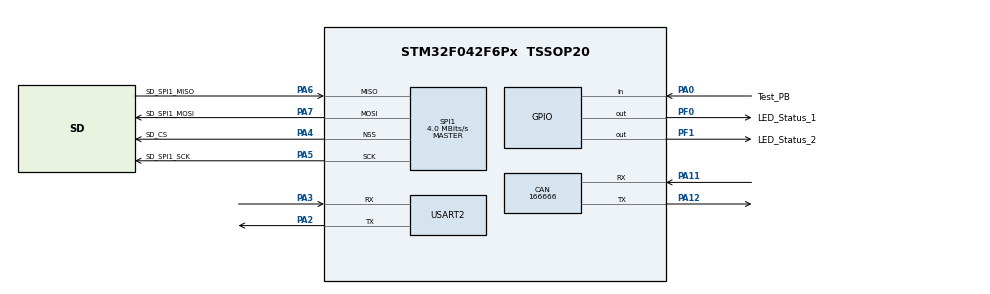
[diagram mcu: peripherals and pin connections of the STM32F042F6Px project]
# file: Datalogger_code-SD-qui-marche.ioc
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CAN.CalculateBaudRate=166666
CAN.CalculateTimeBit=6000
CAN.CalculateTimeQuantum=2000.0
Mcu.Family=STM32F0
Mcu.Name=STM32F042F6Px
Mcu.Package=TSSOP20
PA0.GPIO_Label=Test_PB
PA0.Signal=GPIO_Input
PA11.Mode=CAN_Activate
PA11.Signal=CAN_RX
PA12.Mode=CAN_Activate
PA12.Signal=CAN_TX
PA13.GPIO_Label=Debug_SWDIO
PA13.Mode=Serial_Wire
PA13.Signal=SYS_SWDIO
PA14.GPIO_Label=Debug_SWCLK
PA14.Mode=Serial_Wire
PA14.Signal=SYS_SWCLK
PA2.Mode=Asynchronous
PA2.Signal=USART2_TX
PA3.Mode=Asynchronous
PA3.Signal=USART2_RX
PA4.GPIO_Label=SD_CS
PA4.Mode=NSS_Signal_Hard_Output
PA4.Signal=SPI1_NSS
PA5.GPIO_Label=SD_SPI1_SCK
PA5.Mode=Full_Duplex_Master
PA5.Signal=SPI1_SCK
PA6.GPIO_Label=SD_SPI1_MISO
PA6.Mode=Full_Duplex_Master
PA6.Signal=SPI1_MISO
PA7.GPIO_Label=SD_SPI1_MOSI
PA7.Mode=Full_Duplex_Master
PA7.Signal=SPI1_MOSI
PF0-OSC_IN.GPIO_Label=LED_Status_1
PF0-OSC_IN.Signal=GPIO_Output
PF1-OSC_OUT.GPIO_Label=LED_Status_2
PF1-OSC_OUT.Signal=GPIO_Output
ProjectManager.HeapSize=0x200
ProjectManager.StackSize=0x400
ProjectManager.TargetToolchain=STM32CubeIDE
SPI1.CalculateBaudRate=4.0 MBits/s
SPI1.Direction=SPI_DIRECTION_2LINES
SPI1.Mode=SPI_MODE_MASTER
SPI1.VirtualNSS=VM_NSSHARD
SPI1.VirtualType=VM_MASTER
USART2.VirtualMode-Asynchronous=VM_ASYNC
VP_FATFS_VS_Generic.Mode=User_defined
VP_SYS_VS_PINREMAP.Mode=PINREMAP
board=custom

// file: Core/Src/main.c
/* USER CODE BEGIN Header */
/**
  ******************************************************************************
  * @file           : main.c
  * @brief          : Main program body
  ******************************************************************************
  * @attention
  *
  * Copyright (c) 2026 STMicroelectronics.
  * All rights reserved.
  *
  * This software is licensed under terms that can be found in the LICENSE file
  * in the root directory of this software component.
  * If no LICENSE file comes with this software, it is provided AS-IS.
  *
  ******************************************************************************
  */
/* USER CODE END Header */
#include "main.h"
#include "fatfs.h"

/* USER CODE BEGIN Includes */
#include "led.h"
#include <stdio.h>
#include <string.h>
#include <stdarg.h>
/* USER CODE END Includes */

CAN_HandleTypeDef hcan;

SPI_HandleTypeDef hspi1;

UART_HandleTypeDef huart2;

void SystemClock_Config(void);
static void MX_GPIO_Init(void);
static void MX_CAN_Init(void);
static void MX_SPI1_Init(void);
static void MX_USART2_UART_Init(void);

/* USER CODE BEGIN 0 */
int __io_putchar(int ch)

{

	HAL_UART_Transmit(&huart2, (uint8_t *)&ch, 1, HAL_MAX_DELAY);

	return ch;

}
/* USER CODE END 0 */

int main(void)
{

  /* MCU Configuration--------------------------------------------------------*/

  /* Reset of all peripherals, Initializes the Flash interface and the Systick. */
  HAL_Init();

  /* Configure the system clock */
  SystemClock_Config();

  /* Initialize all configured peripherals */
  MX_GPIO_Init();
  MX_CAN_Init();
  MX_SPI1_Init();
  MX_USART2_UART_Init();
  MX_FATFS_Init();
  /* USER CODE BEGIN 2 */
  	printf("\r\n~ ça marche ! ~\r\n\r\n");

    HAL_Delay(1000); //On marque une pause pour laisser le temps à la carte de se setup

    FATFS FatFs; 	//variable FatFs
    FIL fil; 		//variable dossier
    FRESULT fres; //Résultat

    //On ouvre le dossier !
    fres = f_mount(&FatFs, "", 1); //1=mount now
    if (fres != FR_OK) {
  	printf("f_mount error (%i)\r\n", fres);
  	while(1);
    }

    //On affiche les caractéristiques de la carte SD
    DWORD free_clusters, free_sectors, total_sectors;

    FATFS* getFreeFs;

    fres = f_getfree("", &free_clusters, &getFreeFs);
    if (fres != FR_OK) {
  	printf("f_getfree error (%i)\r\n", fres);
  	while(1);
    }

    total_sectors = (getFreeFs->n_fatent - 2) * getFreeFs->csize;
    free_sectors = free_clusters * getFreeFs->csize;

    printf("SD card stats:\r\n%10lu KiB total drive space.\r\n%10lu KiB available.\r\n", total_sectors / 2, free_sectors / 2);

    //On ouvre le fichier "test.txt"
    fres = f_open(&fil, "test.txt", FA_READ);
    if (fres != FR_OK) {
  	printf("f_open error (%i)\r\n", fres);
  	while(1);
    }
    printf("Le fichier 'test.txt' a pu être ouvert pour la lecture\r\n");

    //On lit "test.txt" sur la carte SD
    BYTE readBuf[30];

    //We can either use f_read OR f_gets to get data out of files
    //f_gets is a wrapper on f_read that does some string formatting for us
    TCHAR* rres = f_gets((TCHAR*)readBuf, 30, &fil);
    if(rres != 0) {
  	printf("Read string from 'test.txt' contents: %s\r\n", readBuf);
    } else {
  	printf("f_gets error (%i)\r\n", fres);
    }

    //On oublie pas de fermer le dossier !!!
    f_close(&fil);

    //On écrit le fichier "write.txt"
    fres = f_open(&fil, "write.txt", FA_WRITE | FA_OPEN_ALWAYS | FA_CREATE_ALWAYS);
    if(fres == FR_OK) {
  	printf("Le fichier 'write.txt' a pu être ouvert pour l'écriture !\r\n");
    } else {
  	printf("f_open error (%i)\r\n", fres);
    }

    //On écrit le texte
    strcpy((char*)readBuf, "un nouveau fichié est crée!");
    UINT bytesWrote;
    fres = f_write(&fil, readBuf, 19, &bytesWrote);
    if(fres == FR_OK) {
  	printf("Wrote %i bytes to 'write.txt'!\r\n", bytesWrote);
    } else {
  	printf("f_write error (%i)\r\n", fres);
    }

    // /!\ Ne pas oublier de fermer le fichier !!!
    f_close(&fil);

    //We're done, so de-mount the drive
    f_mount(NULL, "", 0);

    /* USER CODE END 2 */

    /* Infinite loop */
    while (1)
    {

      /* USER CODE BEGIN 3 */
        //Blink the LED every second
  	  HAL_GPIO_TogglePin(GPIOF, GPIO_PIN_0);
  	  HAL_Delay(1000);
    }
  /* USER CODE END 2 */

  /* Infinite loop */
  /* USER CODE BEGIN WHILE */
  while (1)
  {
    /* USER CODE END WHILE */

    /* USER CODE BEGIN 3 */
  }
  /* USER CODE END 3 */
}

void SystemClock_Config(void)
{
  RCC_OscInitTypeDef RCC_OscInitStruct = {0};
  RCC_ClkInitTypeDef RCC_ClkInitStruct = {0};

  /** Initializes the RCC Oscillators according to the specified parameters
  * in the RCC_OscInitTypeDef structure.
  */
  RCC_OscInitStruct.OscillatorType = RCC_OSCILLATORTYPE_HSI;
  RCC_OscInitStruct.HSIState = RCC_HSI_ON;
  RCC_OscInitStruct.HSICalibrationValue = RCC_HSICALIBRATION_DEFAULT;
  RCC_OscInitStruct.PLL.PLLState = RCC_PLL_NONE;
  if (HAL_RCC_OscConfig(&RCC_OscInitStruct) != HAL_OK)
  {
    Error_Handler();
  }

  /** Initializes the CPU, AHB and APB buses clocks
  */
  RCC_ClkInitStruct.ClockType = RCC_CLOCKTYPE_HCLK|RCC_CLOCKTYPE_SYSCLK
                              |RCC_CLOCKTYPE_PCLK1;
  RCC_ClkInitStruct.SYSCLKSource = RCC_SYSCLKSOURCE_HSI;
  RCC_ClkInitStruct.AHBCLKDivider = RCC_SYSCLK_DIV1;
  RCC_ClkInitStruct.APB1CLKDivider = RCC_HCLK_DIV1;

  if (HAL_RCC_ClockConfig(&RCC_ClkInitStruct, FLASH_LATENCY_0) != HAL_OK)
  {
    Error_Handler();
  }
}

static void MX_CAN_Init(void)
{

  hcan.Instance = CAN;
  hcan.Init.Prescaler = 16;
  hcan.Init.Mode = CAN_MODE_NORMAL;
  hcan.Init.SyncJumpWidth = CAN_SJW_1TQ;
  hcan.Init.TimeSeg1 = CAN_BS1_1TQ;
  hcan.Init.TimeSeg2 = CAN_BS2_1TQ;
  hcan.Init.TimeTriggeredMode = DISABLE;
  hcan.Init.AutoBusOff = DISABLE;
  hcan.Init.AutoWakeUp = DISABLE;
  hcan.Init.AutoRetransmission = DISABLE;
  hcan.Init.ReceiveFifoLocked = DISABLE;
  hcan.Init.TransmitFifoPriority = DISABLE;
  if (HAL_CAN_Init(&hcan) != HAL_OK)
  {
    Error_Handler();
  }

}

static void MX_SPI1_Init(void)
{

  /* SPI1 parameter configuration*/
  hspi1.Instance = SPI1;
  hspi1.Init.Mode = SPI_MODE_MASTER;
  hspi1.Init.Direction = SPI_DIRECTION_2LINES;
  hspi1.Init.DataSize = SPI_DATASIZE_4BIT;
  hspi1.Init.CLKPolarity = SPI_POLARITY_LOW;
  hspi1.Init.CLKPhase = SPI_PHASE_1EDGE;
  hspi1.Init.NSS = SPI_NSS_HARD_OUTPUT;
  hspi1.Init.BaudRatePrescaler = SPI_BAUDRATEPRESCALER_2;
  hspi1.Init.FirstBit = SPI_FIRSTBIT_MSB;
  hspi1.Init.TIMode = SPI_TIMODE_DISABLE;
  hspi1.Init.CRCCalculation = SPI_CRCCALCULATION_DISABLE;
  hspi1.Init.CRCPolynomial = 7;
  hspi1.Init.CRCLength = SPI_CRC_LENGTH_DATASIZE;
  hspi1.Init.NSSPMode = SPI_NSS_PULSE_ENABLE;
  if (HAL_SPI_Init(&hspi1) != HAL_OK)
  {
    Error_Handler();
  }

}

static void MX_USART2_UART_Init(void)
{

  huart2.Instance = USART2;
  huart2.Init.BaudRate = 38400;
  huart2.Init.WordLength = UART_WORDLENGTH_8B;
  huart2.Init.StopBits = UART_STOPBITS_1;
  huart2.Init.Parity = UART_PARITY_NONE;
  huart2.Init.Mode = UART_MODE_TX_RX;
  huart2.Init.HwFlowCtl = UART_HWCONTROL_NONE;
  huart2.Init.OverSampling = UART_OVERSAMPLING_16;
  huart2.Init.OneBitSampling = UART_ONE_BIT_SAMPLE_DISABLE;
  huart2.AdvancedInit.AdvFeatureInit = UART_ADVFEATURE_NO_INIT;
  if (HAL_UART_Init(&huart2) != HAL_OK)
  {
    Error_Handler();
  }

}

static void MX_GPIO_Init(void)
{
  GPIO_InitTypeDef GPIO_InitStruct = {0};

  /* GPIO Ports Clock Enable */
  __HAL_RCC_GPIOF_CLK_ENABLE();
  __HAL_RCC_GPIOA_CLK_ENABLE();

  /*Configure GPIO pin Output Level */
  HAL_GPIO_WritePin(GPIOF, LED_Status_1_Pin|LED_Status_2_Pin, GPIO_PIN_RESET);

  /*Configure GPIO pins : LED_Status_1_Pin LED_Status_2_Pin */
  GPIO_InitStruct.Pin = LED_Status_1_Pin|LED_Status_2_Pin;
  GPIO_InitStruct.Mode = GPIO_MODE_OUTPUT_PP;
  GPIO_InitStruct.Pull = GPIO_NOPULL;
  GPIO_InitStruct.Speed = GPIO_SPEED_FREQ_LOW;
  HAL_GPIO_Init(GPIOF, &GPIO_InitStruct);

  /*Configure GPIO pin : Test_PB_Pin */
  GPIO_InitStruct.Pin = Test_PB_Pin;
  GPIO_InitStruct.Mode = GPIO_MODE_INPUT;
  GPIO_InitStruct.Pull = GPIO_NOPULL;
  HAL_GPIO_Init(Test_PB_GPIO_Port, &GPIO_InitStruct);

}

void Error_Handler(void)
{
  __disable_irq();
  while (1)
  {
  }
}
